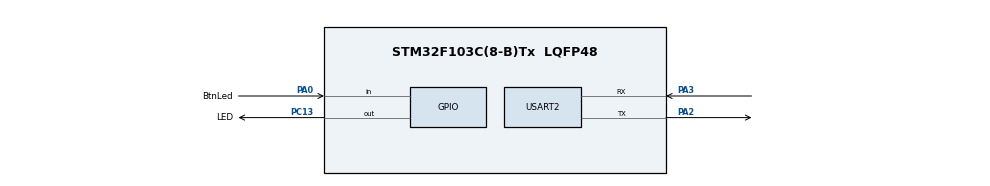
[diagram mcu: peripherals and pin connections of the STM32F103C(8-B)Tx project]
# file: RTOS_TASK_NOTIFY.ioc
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FREERTOS.Tasks01=defaultTask,24,128,StartDefaultTask,Default,NULL,Dynamic,NULL,NULL
Mcu.Family=STM32F1
Mcu.Name=STM32F103C(8-B)Tx
Mcu.Package=LQFP48
NVIC.PriorityGroup=NVIC_PRIORITYGROUP_4
NVIC.TIM3_IRQn=true\:0\:0\:false\:false\:true\:false\:false\:true
NVIC.TimeBase=TIM3_IRQn
NVIC.TimeBaseIP=TIM3
PA0-WKUP.GPIO_Label=BtnLed
PA0-WKUP.Signal=GPIO_Input
PA13.Mode=Serial_Wire
PA13.Signal=SYS_JTMS-SWDIO
PA14.Mode=Serial_Wire
PA14.Signal=SYS_JTCK-SWCLK
PA2.Mode=Asynchronous
PA2.Signal=USART2_TX
PA3.Mode=Asynchronous
PA3.Signal=USART2_RX
PC13-TAMPER-RTC.GPIO_Label=LED
PC13-TAMPER-RTC.Signal=GPIO_Output
PC14-OSC32_IN.Mode=LSE-External-Oscillator
PC14-OSC32_IN.Signal=RCC_OSC32_IN
PC15-OSC32_OUT.Mode=LSE-External-Oscillator
PC15-OSC32_OUT.Signal=RCC_OSC32_OUT
PD0-OSC_IN.Mode=HSE-External-Oscillator
PD0-OSC_IN.Signal=RCC_OSC_IN
PD1-OSC_OUT.Mode=HSE-External-Oscillator
PD1-OSC_OUT.Signal=RCC_OSC_OUT
ProjectManager.HeapSize=0x200
ProjectManager.StackSize=0x400
ProjectManager.TargetToolchain=STM32CubeIDE
RCC.APB1Freq_Value=8000000
RCC.APB2Freq_Value=8000000
USART2.VirtualMode=VM_ASYNC
VP_FREERTOS_VS_CMSIS_V2.Mode=CMSIS_V2
VP_SYS_VS_tim3.Mode=TIM3
board=custom

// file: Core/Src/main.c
/* USER CODE BEGIN Header */
/**
  ******************************************************************************
  * @file           : main.c
  * @brief          : Main program body
  ******************************************************************************
  * @attention
  *
  * <h2><center>&copy; Copyright (c) 2021 STMicroelectronics.
  * All rights reserved.</center></h2>
  *
  * This software component is licensed by ST under Ultimate Liberty license
  * SLA0044, the "License"; You may not use this file except in compliance with
  * the License. You may obtain a copy of the License at:
  *                             www.st.com/SLA0044
  *
  ******************************************************************************
  */
/* USER CODE END Header */
#include "main.h"
#include "cmsis_os.h"
#include "usart.h"
#include "gpio.h"

void SystemClock_Config(void);
void MX_FREERTOS_Init(void);

int main(void)
{

  /* MCU Configuration--------------------------------------------------------*/

  /* Reset of all peripherals, Initializes the Flash interface and the Systick. */
  HAL_Init();

  /* Configure the system clock */
  SystemClock_Config();

  /* Initialize all configured peripherals */
  MX_GPIO_Init();
  MX_USART2_UART_Init();
  /* USER CODE BEGIN 2 */
  HAL_UART_Transmit(&huart2, "Start func RTOS notify\n", 24u, 100u);
  /* USER CODE END 2 */

  /* Init scheduler */
  osKernelInitialize();  /* Call init function for freertos objects (in freertos.c) */
  MX_FREERTOS_Init();
  /* Start scheduler */
  osKernelStart();

  /* We should never get here as control is now taken by the scheduler */
  /* Infinite loop */
  while (1)
  {

  }
}

void SystemClock_Config(void)
{
  RCC_OscInitTypeDef RCC_OscInitStruct = {0};
  RCC_ClkInitTypeDef RCC_ClkInitStruct = {0};

  /** Initializes the RCC Oscillators according to the specified parameters
  * in the RCC_OscInitTypeDef structure.
  */
  RCC_OscInitStruct.OscillatorType = RCC_OSCILLATORTYPE_HSI;
  RCC_OscInitStruct.HSIState = RCC_HSI_ON;
  RCC_OscInitStruct.HSICalibrationValue = RCC_HSICALIBRATION_DEFAULT;
  RCC_OscInitStruct.PLL.PLLState = RCC_PLL_NONE;
  if (HAL_RCC_OscConfig(&RCC_OscInitStruct) != HAL_OK)
  {
    Error_Handler();
  }
  /** Initializes the CPU, AHB and APB buses clocks
  */
  RCC_ClkInitStruct.ClockType = RCC_CLOCKTYPE_HCLK|RCC_CLOCKTYPE_SYSCLK
                              |RCC_CLOCKTYPE_PCLK1|RCC_CLOCKTYPE_PCLK2;
  RCC_ClkInitStruct.SYSCLKSource = RCC_SYSCLKSOURCE_HSI;
  RCC_ClkInitStruct.AHBCLKDivider = RCC_SYSCLK_DIV1;
  RCC_ClkInitStruct.APB1CLKDivider = RCC_HCLK_DIV1;
  RCC_ClkInitStruct.APB2CLKDivider = RCC_HCLK_DIV1;

  if (HAL_RCC_ClockConfig(&RCC_ClkInitStruct, FLASH_LATENCY_0) != HAL_OK)
  {
    Error_Handler();
  }
}

 /**
  * @brief  Period elapsed callback in non blocking mode
  * @note   This function is called  when TIM3 interrupt took place, inside
  * HAL_TIM_IRQHandler(). It makes a direct call to HAL_IncTick() to increment
  * a global variable "uwTick" used as application time base.
  * @param  htim : TIM handle
  * @retval None
  */
void HAL_TIM_PeriodElapsedCallback(TIM_HandleTypeDef *htim)
{
  if (htim->Instance == TIM3) {
    HAL_IncTick();
  }
}

void Error_Handler(void)
{
  __disable_irq();
  while (1)
  {
  }
}

/************************ (C) COPYRIGHT STMicroelectronics *****END OF FILE****/

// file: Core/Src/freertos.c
/* USER CODE BEGIN Header */
/**
  ******************************************************************************
  * File Name          : freertos.c
  * Description        : Code for freertos applications
  ******************************************************************************
  * @attention
  *
  * <h2><center>&copy; Copyright (c) 2021 STMicroelectronics.
  * All rights reserved.</center></h2>
  *
  * This software component is licensed by ST under Ultimate Liberty license
  * SLA0044, the "License"; You may not use this file except in compliance with
  * the License. You may obtain a copy of the License at:
  *                             www.st.com/SLA0044
  *
  ******************************************************************************
  */
/* USER CODE END Header */

#include "FreeRTOS.h"
#include "task.h"
#include "main.h"
#include "cmsis_os.h"
#include "usart.h"
#include <stdio.h>
#include <string.h>

/* USER CODE BEGIN Variables */
TaskHandle_t LedTask= NULL;
TaskHandle_t BtnTask= NULL;
/* USER CODE END Variables */
/* Definitions for defaultTask */
osThreadId_t defaultTaskHandle;
const osThreadAttr_t defaultTask_attributes = {
  .name = "defaultTask",
  .priority = (osPriority_t) osPriorityNormal,
  .stack_size = 128
};

/* USER CODE BEGIN FunctionPrototypes */
void LedTaskHandler( void *argument);
void BtnTaskHandler( void *argument);
void rtosDelay( uint32_t u32DelayMs );
/* USER CODE END FunctionPrototypes */

void StartDefaultTask(void *argument);

void MX_FREERTOS_Init(void); /* (MISRA C 2004 rule 8.1) */

void MX_FREERTOS_Init(void) {

  /* Create the thread(s) */
  /* creation of defaultTask */
  defaultTaskHandle = osThreadNew(StartDefaultTask, NULL, &defaultTask_attributes);

  /* USER CODE BEGIN RTOS_THREADS */
  /* add threads, ... */
  xTaskCreate( LedTaskHandler, "LED-Task", 300u, NULL, (osPriority_t) osPriorityNormal, &LedTask);
  xTaskCreate( BtnTaskHandler, "Btn-Task", 300u, NULL,  (osPriority_t) osPriorityNormal, &BtnTask);
  /* USER CODE END RTOS_THREADS */

}

void StartDefaultTask(void *argument)
{
  /* USER CODE BEGIN StartDefaultTask */
  /* Infinite loop */
  for(;;)
  {
    osDelay(1000u);
  }
  /* USER CODE END StartDefaultTask */
}

/* USER CODE BEGIN Application */
void LedTaskHandler( void *argument){
	char message[30];
	uint32_t u32Count= 0;
	while(1){
		/* confirm receive notify */
		if( pdTRUE == xTaskNotifyWait(0, 0, &u32Count, portMAX_DELAY) ){
			sprintf(message, "The count is: %ld\n",u32Count);
			HAL_UART_Transmit(&huart2, (uint8_t *)message, strlen(message), 10u);
		}
	}
}

void BtnTaskHandler( void *argument){
	while(1){
		if( 0u == HAL_GPIO_ReadPin(GPIOA, GPIO_PIN_0) ){
			rtosDelay(200u);
			if( 0u == HAL_GPIO_ReadPin(GPIOA, GPIO_PIN_0) ){
				rtosDelay(200u);
				xTaskNotify(LedTask, 0u, eIncrement);
				xTaskNotify(LedTask, 6u, eSetValueWithoutOverwrite);
				while( 0u == HAL_GPIO_ReadPin(GPIOA, GPIO_PIN_0) );
			}
		}
	}
}

void rtosDelay( uint32_t u32DelayMs ){
	/* convert second to tick */
	uint32_t u32CurrentTick = xTaskGetTickCount();
	uint32_t u32TickSet= u32DelayMs /1000 * configTICK_RATE_HZ;

	/* start to delay block */
	while( xTaskGetTickCount() < (u32CurrentTick + u32TickSet) );
}
/* USER CODE END Application */

/************************ (C) COPYRIGHT STMicroelectronics *****END OF FILE****/
